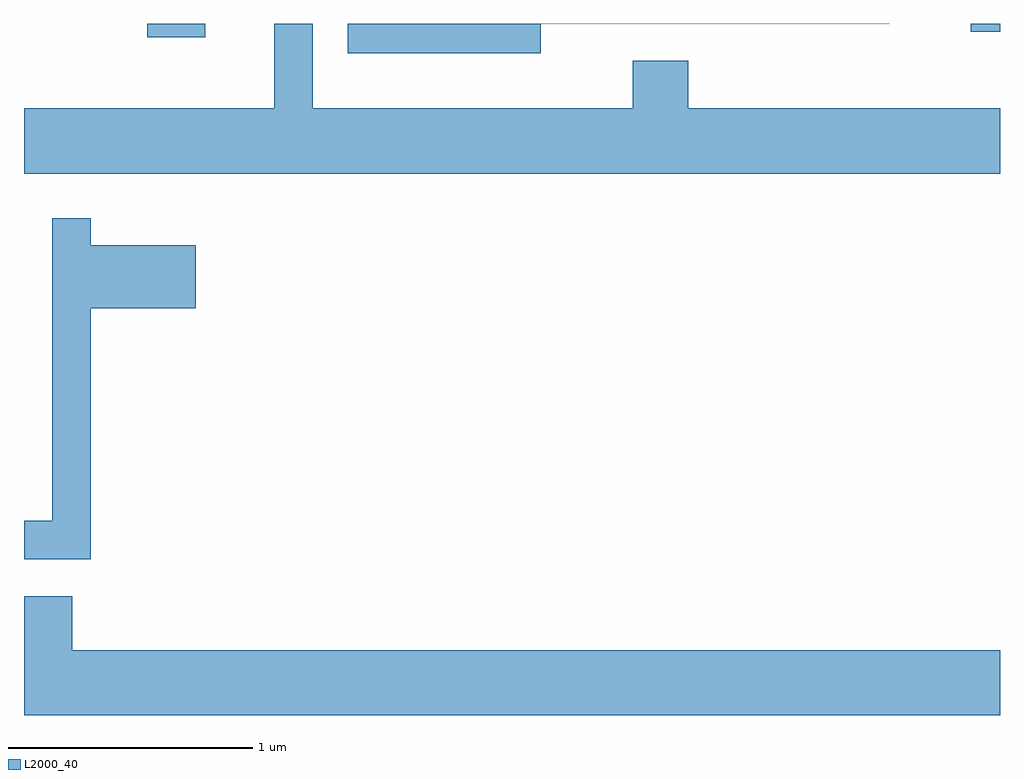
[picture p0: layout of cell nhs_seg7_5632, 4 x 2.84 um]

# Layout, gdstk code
import gdstk
lib = gdstk.Library(unit=1e-6, precision=1e-09)
def R(c, l, rs):  # rectangles x0, y0, x1, y1
    for r in rs: c.add(gdstk.rectangle(r[:2], r[2:], *l))
def P(c, l, *ps):  # polygons
    for p in ps: c.add(gdstk.Polygon(p, *l))
L2000_40 = (2000, 40)

nhs_seg7_5632 = lib.new_cell('nhs_seg7_5632')
R(nhs_seg7_5632, L2000_40, [(358.116,1728.196,358.354,1728.252), (361.491,1728.218,361.611,1728.252)])
P(nhs_seg7_5632, L2000_40, [(361.611,1727.904),(360.334,1727.904),(360.334,1728.099),(360.106,1728.099),(360.106,1727.904),(358.794,1727.904),(358.794,1728.252),(358.636,1728.252),(358.636,1727.904),(357.611,1727.904),(357.611,1727.636),(361.611,1727.636)],
  [(359.729,1728.251),(361.157,1728.251),(361.158,1728.252),(358.938,1728.252),(358.938,1728.131),(359.729,1728.131)],
  [(357.884,1727.086),(358.314,1727.086),(358.314,1727.344),(357.884,1727.344),(357.884,1727.453),(357.726,1727.453),(357.726,1726.214),(357.611,1726.214),(357.611,1726.056),(357.884,1726.056)],
  [(361.611,1725.684),(357.809,1725.684),(357.809,1725.904),(357.611,1725.904),(357.611,1725.416),(361.611,1725.416)])

lib.write_gds('nhs_seg7_5632.gds')
